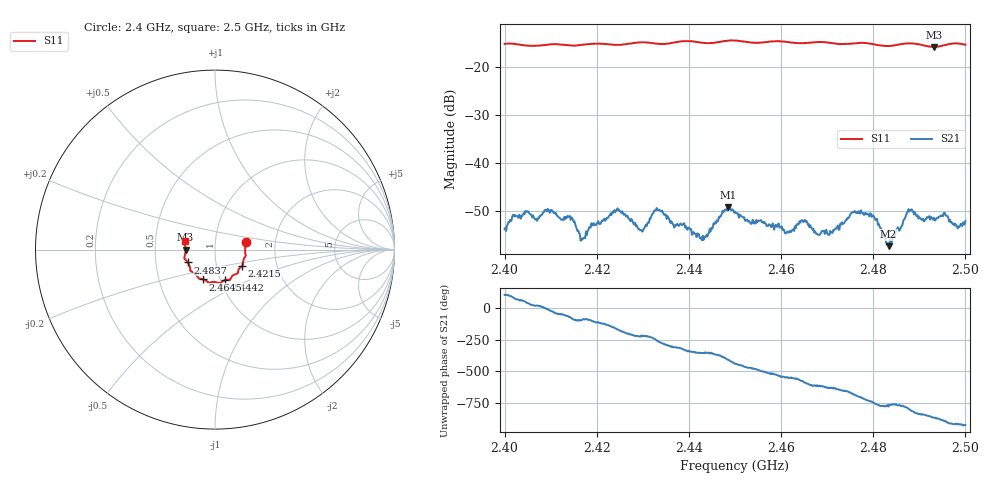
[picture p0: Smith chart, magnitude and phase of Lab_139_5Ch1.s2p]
# Hz S RI R 50
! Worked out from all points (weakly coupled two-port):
!   601 points, 2.4 GHz to 2.5 GHz, reference 50 ohm
!   highest |S21| = -49.12 dB at 2.4485 GHz (marker M1); lowest = -57.2 dB at 2.4833 GHz (marker M2)
!   lowest |S11| = -15.7 dB at 2.4932 GHz (marker M3), VSWR 1.39, Z = 35.9 - j0.0492 ohm
!   |S11| at or under -10 dB: start of sweep to end of sweep
!   S12 and S22 are empty: the file has one direction only
!   S11 on the Smith chart (normalised r, x): 2.4 GHz: 1.41, +0.12; 2.4215 GHz: 1.33, -0.25; 2.4442 GHz: 1.05, -0.37; 2.4645 GHz: 0.83, -0.29; 2.4837 GHz: 0.73, -0.11; 2.5 GHz: 0.71, +0.07
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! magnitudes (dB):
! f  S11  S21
! 2.4 GHz  -15.1  -53.7
! 2.4098 GHz  -15.2  -50.3
! 2.4143 GHz  -15.5  -51.8
! 2.4167 GHz  -15.3  -55.7
! 2.4215 GHz  -15.1  -51.9
! 2.4247 GHz  -15.3  -49.8
! 2.4298 GHz  -14.8  -54.2
! 2.4333 GHz  -15.1  -49.8
! 2.4442 GHz  -15.0  -54.7
! 2.4485 GHz  -14.4  -49.1
! 2.45 GHz  -14.4  -50.0
! 2.4613 GHz  -14.7  -54.2
! 2.4645 GHz  -15.0  -51.8
! 2.4667 GHz  -14.8  -53.5
! 2.4707 GHz  -14.9  -54.1
! 2.4773 GHz  -14.9  -49.8
! 2.4803 GHz  -15.2  -51.5
! 2.4833 GHz  -15.6  -57.2
! 2.4837 GHz  -15.5  -55.9
! 2.4878 GHz  -15.0  -50.0
! 2.4932 GHz  -15.7  -51.4
! 2.5 GHz  -15.3  -52.0
